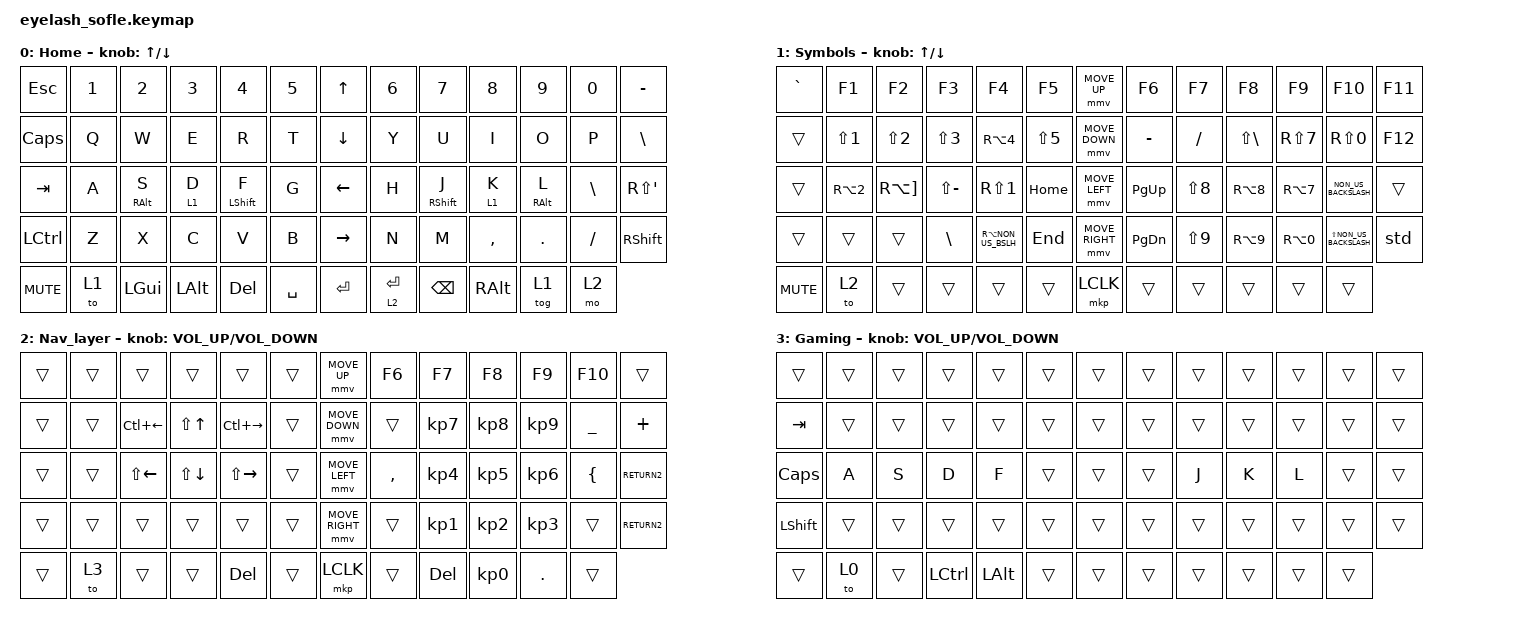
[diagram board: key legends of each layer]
#define ZMK_POINTING_DEFAULT_MOVE_VAL 1200  // 600
#define ZMK_POINTING_DEFAULT_SCRL_VAL 35    // 10

#include <input/processors.dtsi>
#include <zephyr/dt-bindings/input/input-event-codes.h>
#include <behaviors.dtsi>
#include <dt-bindings/zmk/keys.h>
#include <dt-bindings/zmk/pointing.h>

/ {
    zip_scroll_scaler: zip_scroll_scaler {
        compatible = "zmk,input-processor-scaler";
        #input-processor-cells = <2>;
        type = <INPUT_EV_REL>;
        codes = <INPUT_REL_WHEEL INPUT_REL_HWHEEL>;
        track-remainders;
    };
};

&mmv_input_listener { input-processors = <&zip_xy_scaler 2 1>; };

&msc_input_listener { input-processors = <&zip_scroll_scaler 2 1>; };

/ {
    Home_row_mod_left: Home_row_mod_left {
        compatible = "zmk,behavior-hold-tap";
        label = "HOME_ROW_MOD_LEFT";
        bindings = <&kp>, <&kp>;

        #binding-cells = <2>;
        tapping-term-ms = <1000>;
        hold-trigger-key-positions = <7 8 9 10 11 12 20 21 22 23 24 25 33 34 35 36 37 38 46 47 48 49 50 51 37 38 46 47 48 49 50 51 59 60 61 62 63 56>;
        flavor = "balanced";
        require-prior-idle-ms = <150>;
        quick-tap-ms = <150>;
        hold-trigger-on-release;
    };

    Home_row_mod_right: Home_row_mod_right {
        compatible = "zmk,behavior-hold-tap";
        label = "HOME_ROW_MOD_RIGHT";
        bindings = <&kp>, <&kp>;

        #binding-cells = <2>;
        tapping-term-ms = <1000>;
        flavor = "balanced";
        require-prior-idle-ms = <150>;
        quick-tap-ms = <150>;
        hold-trigger-key-positions = <0 1 13 14 15 16 17 18 28 29 30 31 0 1 2 3 4 5 13 14 15 16 17 18 26 27 28 29 30 31 39 40 41 42 43 44 39 40 41 42 43 44 53 54 55 56 57>;
        hold-trigger-on-release;
    };

    Home_row_layer_left: Home_row_layer_left {
        compatible = "zmk,behavior-hold-tap";
        label = "HOME_ROW_LAYER_LEFT";
        bindings = <&mo>, <&kp>;

        #binding-cells = <2>;
        tapping-term-ms = <1000>;
        hold-trigger-key-positions = <7 8 9 10 11 12 20 21 22 23 24 25 33 34 35 36 37 38 46 47 48 49 50 51 46 47 48 49 50 59 60 61 62 63>;
        flavor = "balanced";
        require-prior-idle-ms = <150>;
        quick-tap-ms = <150>;
        hold-trigger-on-release;
    };

    Home_row_layer_right: Home_row_layer_right {
        compatible = "zmk,behavior-hold-tap";
        label = "HOME_ROW_LAYER_RIGHT";
        bindings = <&mo>, <&kp>;

        #binding-cells = <2>;
        tapping-term-ms = <1000>;
        flavor = "balanced";
        require-prior-idle-ms = <150>;
        quick-tap-ms = <150>;
        hold-trigger-key-positions = <0 1 13 14 15 16 17 18 28 29 30 31 0 1 2 3 4 5 13 14 15 16 17 18 26 27 28 29 30 31 39 40 41 42 43 44 14 15 16 17 18 27 28 29 30 31 40 41 42 43 44 53 54 55 56 57>;
        hold-trigger-on-release;
    };

    scroll_wheel: scroll_wheel {
        compatible = "zmk,behavior-sensor-rotate";
        label = "SCROLL_WHEEL";
        #sensor-binding-cells = <0>;
        bindings = <&msc MOVE_X(5)>, <&msc MOVE_X(-5)>;
    };

    behaviors {
    };

    combos {
        compatible = "zmk,combos";

        f5 {
            bindings = <&kp F5>;
            key-positions = <30 5>;
        };

        paren {
            bindings = <&kp LS(N8)>;
            key-positions = <14 15>;
        };

        backspace {
            bindings = <&kp BACKSPACE>;
            key-positions = <33 34>;
        };

        del {
            bindings = <&kp DEL>;
            key-positions = <30 31>;
        };

        scruilty {
            bindings = <&kp RA(N7)>;
            key-positions = <17 18>;
        };

        braces {
            bindings = <&kp RA(N0)>;
            key-positions = <20 21>;
        };

        thesis {
            bindings = <&kp RS(N9)>;
            key-positions = <23 24>;
        };

        Gaming {
            bindings = <&to 3>;
            key-positions = <62 63>;
        };

        home {
            bindings = <&to 0>;
            key-positions = <60 61>;
        };
    };

    macros {
        std: std {
            compatible = "zmk,behavior-macro";
            #binding-cells = <0>;
            bindings = <&kp S &kp T &kp D &kp LS(PERIOD) &kp LS(PERIOD)>;
            label = "STD";
        };
    };

    keymap {
        compatible = "zmk,keymap";

        Home {
            bindings = <
&kp ESC     &kp N1  &kp N2                          &kp N3                    &kp N4                           &kp N5       &kp UP_ARROW     &kp N6                         &kp N7                             &kp N8                     &kp N9                           &kp N0    &kp MINUS
&kp CLCK    &kp Q   &kp W                           &kp E                     &kp R                            &kp T        &kp DOWN_ARROW   &kp Y                          &kp U                              &kp I                      &kp O                            &kp P     &kp BSLH
&kp TAB     &kp A   &Home_row_mod_left RIGHT_ALT S  &Home_row_layer_left 1 D  &Home_row_mod_left LEFT_SHIFT F  &kp G        &kp LEFT_ARROW   &kp H                          &Home_row_mod_right RIGHT_SHIFT J  &Home_row_layer_right 1 K  &Home_row_mod_right RIGHT_ALT L  &kp BSLH  &kp RS(APOS)
&kp LCTRL   &kp Z   &kp X                           &kp C                     &kp V                            &kp B        &kp RIGHT_ARROW  &kp N                          &kp M                              &kp COMMA                  &kp DOT                          &kp FSLH  &kp RIGHT_SHIFT
&kp C_MUTE  &to 1   &kp LEFT_GUI                    &kp LEFT_ALT              &kp DELETE                       &kp SPACE    &kp ENTER        &Home_row_layer_right 2 ENTER  &kp BACKSPACE                      &kp RIGHT_ALT              &tog 1                           &mo 2
            >;

            sensor-bindings = <&inc_dec_kp UP_ARROW DOWN>;
            display-name = "Home";
        };

        Symbols {
            bindings = <
&kp GRAVE   &kp F1            &kp F2                 &kp F3            &kp F4               &kp F5        &mmv MOVE_UP     &kp F6     &kp F7      &kp F8             &kp F9            &kp F10                   &kp F11
&trans      &kp LS(NUMBER_1)  &kp LS(NUMBER_2)       &kp LS(NUMBER_3)  &kp RA(NUMBER_4)     &kp LS(N5)    &mmv MOVE_DOWN   &kp MINUS  &kp SLASH   &kp LS(BACKSLASH)  &kp RS(N7)        &kp RS(N0)                &kp F12
&trans      &kp RA(NUMBER_2)  &kp RA(RIGHT_BRACKET)  &kp LS(MINUS)     &kp RS(NUMBER_1)     &kp HOME      &mmv MOVE_LEFT   &kp PG_UP  &kp LS(N8)  &kp RA(N8)         &kp RA(N7)        &kp NON_US_BACKSLASH      &trans
&trans      &trans            &trans                 &kp BACKSLASH     &kp RA(NON_US_BSLH)  &kp END       &mmv MOVE_RIGHT  &kp PG_DN  &kp LS(N9)  &kp RA(N9)         &kp RA(NUMBER_0)  &kp LS(NON_US_BACKSLASH)  &std
&kp C_MUTE  &to 2             &trans                 &trans            &trans               &trans        &mkp LCLK        &trans     &trans      &trans             &trans            &trans
            >;

            sensor-bindings = <&inc_dec_kp UP DOWN>;
            display-name = "Symbols";
        };

        nav_kp {
            bindings = <
&trans  &trans  &trans              &trans              &trans         &trans    &mmv MOVE_UP     &kp F6     &kp F7           &kp F8           &kp F9           &kp F10    &trans
&trans  &trans  &kp LC(LEFT_ARROW)  &kp LS(UP_ARROW)    &kp LC(RIGHT)  &trans    &mmv MOVE_DOWN   &trans     &kp KP_NUMBER_7  &kp KP_NUMBER_8  &kp KP_NUMBER_9  &kp UNDER  &kp PLUS
&trans  &trans  &kp LS(LEFT)        &kp LS(DOWN_ARROW)  &kp LS(RIGHT)  &trans    &mmv MOVE_LEFT   &kp COMMA  &kp KP_N4        &kp KP_N5        &kp KP_NUMBER_6  &kp LBRC   &kp RETURN2
&trans  &trans  &trans              &trans              &trans         &trans    &mmv MOVE_RIGHT  &trans     &kp KP_NUMBER_1  &kp KP_NUMBER_2  &kp KP_NUMBER_3  &trans     &kp RETURN2
&trans  &to 3   &trans              &trans              &kp DEL        &trans    &mkp LCLK        &trans     &kp DEL          &kp KP_NUMBER_0  &kp PERIOD       &trans
            >;

            sensor-bindings = <&inc_dec_kp C_VOLUME_UP K_VOLUME_DOWN>;
            label = "Nav_layer";
        };

        Gaming {
            bindings = <
&trans      &trans  &trans  &trans     &trans        &trans    &trans  &trans  &trans  &trans  &trans  &trans  &trans
&kp TAB     &trans  &trans  &trans     &trans        &trans    &trans  &trans  &trans  &trans  &trans  &trans  &trans
&kp CLCK    &kp A   &kp S   &kp D      &kp F         &trans    &trans  &trans  &kp J   &kp K   &kp L   &trans  &trans
&kp LSHIFT  &trans  &trans  &trans     &trans        &trans    &trans  &trans  &trans  &trans  &trans  &trans  &trans
&trans      &to 0   &trans  &kp LCTRL  &kp LEFT_ALT  &trans    &trans  &trans  &trans  &trans  &trans  &trans
            >;

            sensor-bindings = <&inc_dec_kp K_VOLUME_UP C_VOLUME_DOWN>;
            label = "Gaming";
        };
    };
};
